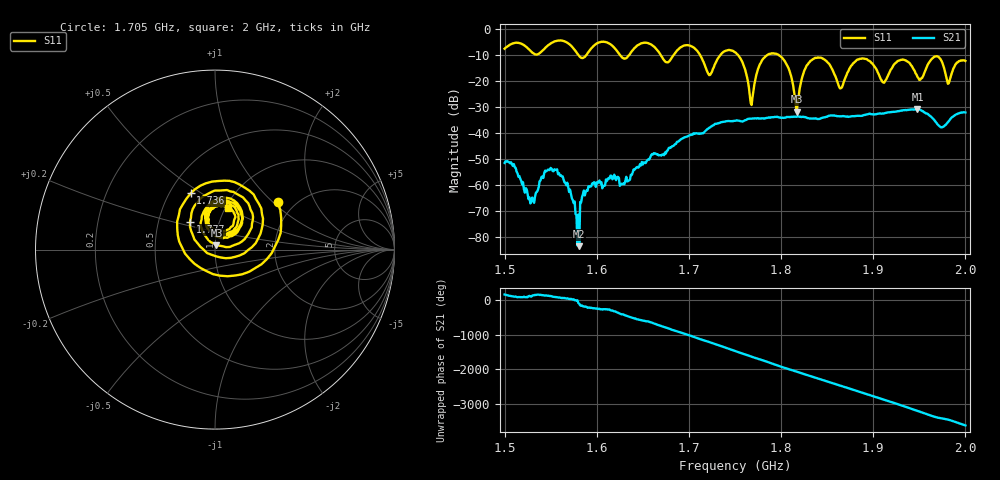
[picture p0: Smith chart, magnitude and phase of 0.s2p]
! NanoVNA-App by SYSJOINT et al v1.1.209 (+OD18)
! Date: 2026-01-21 14:49:16
! Start: 1,5GHz Stop: 2GHz Points: 501
! S-Parameter data: F S11 S21 S12 S22
# Hz S RI R 50
!  Frequency  S11_Real  S11_Imag  S21_Real  S21_Imag  S12_Real  S12_Imag  S22_Real  S22_Imag
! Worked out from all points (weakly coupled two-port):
!   501 points, 1.5 GHz to 2 GHz, reference 50 ohm
!   highest |S21| = -30.96 dB at 1.948 GHz (marker M1); lowest = -83.5 dB at 1.581 GHz (marker M2)
!   lowest |S11| = -31.9 dB at 1.817 GHz (marker M3), VSWR 1.05, Z = 50.8 + j2.45 ohm
!   |S11| at or under -10 dB: 1.712 GHz to 1.734 GHz (22.35 MHz wide, 1.3 % of centre); 1.753 GHz to 1.785 GHz (32.36 MHz wide, 1.83 % of centre); 1.797 GHz to end of sweep (the widest 3 of 6)
!   S12 and S22 are empty: the file has one direction only
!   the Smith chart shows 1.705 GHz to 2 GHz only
!   S11 on the Smith chart (normalised r, x): 1.705 GHz: 1.65, +1.07; 1.736 GHz: 0.64, +0.45; 1.777 GHz: 0.72, +0.23; 2 GHz: 1.03, +0.50
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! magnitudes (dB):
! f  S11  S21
! 1.5 GHz  -7.6  -51.5
! 1.53 GHz  -9.1  -64.8
! 1.556 GHz  -4.7  -54.2
! 1.581 GHz  -10.5  -83.5
! 1.584 GHz  -11.2  -64.6
! 1.667 GHz  -8.8  -48.6
! 1.705 GHz  -7.2  -40.1
! 1.722 GHz  -17.8  -38.0
! 1.736 GHz  -9.3  -35.8
! 1.75 GHz  -9.0  -35.3
! 1.768 GHz  -29.3  -34.5
! 1.777 GHz  -13.6  -34.5
! 1.801 GHz  -11.1  -34.2
! 1.817 GHz  -31.9  -33.8
! 1.834 GHz  -11.8  -34.5
! 1.865 GHz  -22.8  -33.6
! 1.884 GHz  -11.8  -33.5
! 1.917 GHz  -17.1  -32.1
! 1.948 GHz  -18.5  -31.0
! 1.974 GHz  -12.3  -37.9
! 1.982 GHz  -20.9  -35.5
! 2 GHz  -12.4  -32.2
